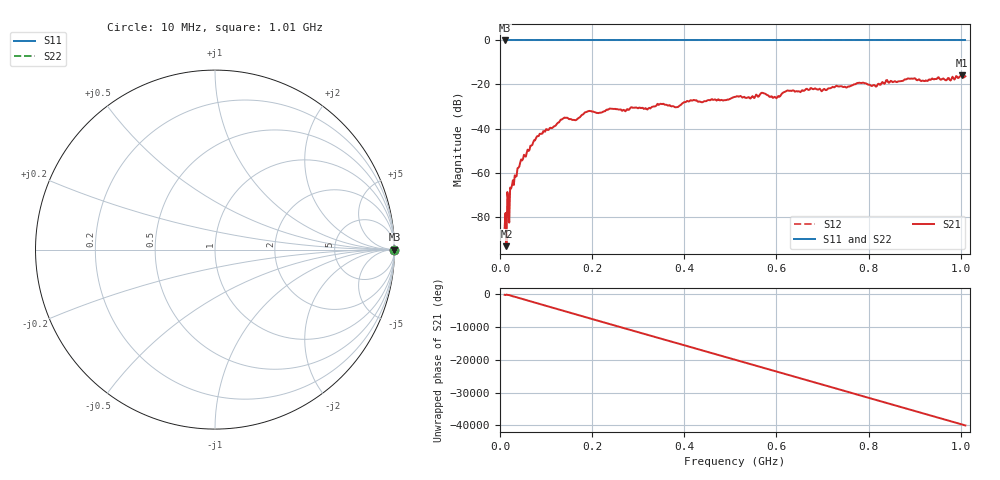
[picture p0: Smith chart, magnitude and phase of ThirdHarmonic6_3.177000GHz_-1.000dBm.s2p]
! 8/17/2025 9:35:04 AM
! C:\ANRITSUVNA\TEMP\TEMP.S2P
! CHANNEL.1
! TR.MEASUREMENT
! RAW.DATA
! RF.CORRECTION.OFF
! AVERAGING.OFF
! IF.BANDWIDTH: 5KHZ
! SWEEPTYPE:  FREQ.SWEEP(Linear)
! Reference Plane Port Info
! PORT:  PORT1  PORT2
! DISTANCE:  0  m  0  m
! TIME:  0  s  0  s
! PHASE.OFFSET:  0  deg.  0  deg.
! LOSS:  0  dB  0  dB
! REF.LOSS:  0  dB  0  dB
! REF.FREQ:  0  Hz  0  Hz
! Power Info
! POWER:  -20  dBm  -20  dBm
! EFF.POWER:  -20  dBm  -20  dBm
! SOURCE.ATTEN:  0  dB  0  dB
! TEST.ATTEN:  0  dB  0  dB
# GHZ S RI R 50.0
! FREQ.GHZ  S11RE  S11IM  S21RE  S21IM  S12RE  S12IM  S22RE  S22IM
!; PortSelection: Port_12
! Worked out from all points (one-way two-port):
!   501 points, 10 MHz to 1.01 GHz, reference 50 ohm
!   highest |S21| = -15.84 dB at 1.002 GHz (marker M1); lowest = -93.4 dB at 14 MHz (marker M2)
!   lowest |S11| = 0.0 dB at 10 MHz (marker M3)
!   |S11| at or under -10 dB: nowhere
!   |S22| runs from 0.0 to 0.0 dB; largest |S21 - S12| = 1.1
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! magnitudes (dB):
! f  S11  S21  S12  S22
! 10 MHz  0.0  -85.2  0.0  0.0
! 14 MHz  0.0  -93.4  0.0  0.0
! 16 MHz  0.0  -68.8  0.0  0.0
! 26 MHz  0.0  -65.8  0.0  0.0
! 42 MHz  0.0  -57.2  0.0  0.0
! 78 MHz  0.0  -44.4  0.0  0.0
! 136 MHz  0.0  -35.6  0.0  0.0
! 162 MHz  0.0  -36.2  0.0  0.0
! 178 MHz  0.0  -33.8  0.0  0.0
! 194 MHz  0.0  -32.0  0.0  0.0
! 344 MHz  0.0  -29.2  0.0  0.0
! 384 MHz  0.0  -30.3  0.0  0.0
! 416 MHz  0.0  -27.3  0.0  0.0
! 510 MHz  0.0  -25.6  0.0  0.0
! 548 MHz  0.0  -25.3  0.0  0.0
! 570 MHz  0.0  -23.8  0.0  0.0
! 596 MHz  0.0  -25.6  0.0  0.0
! 622 MHz  0.0  -22.9  0.0  0.0
! 678 MHz  0.0  -22.0  0.0  0.0
! 844 MHz  0.0  -19.2  0.0  0.0
! 1.002 GHz  0.0  -15.8  0.0  0.0
! 1.01 GHz  0.0  -16.3  0.0  0.0
